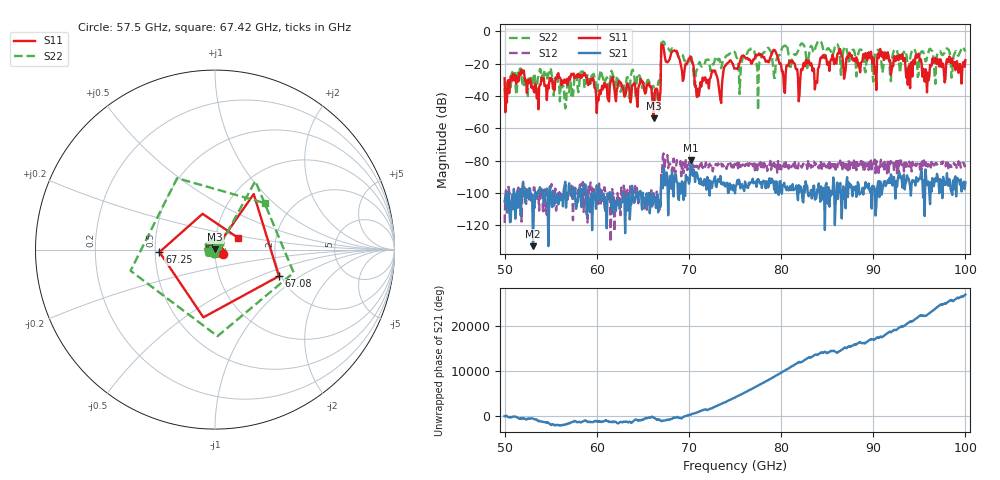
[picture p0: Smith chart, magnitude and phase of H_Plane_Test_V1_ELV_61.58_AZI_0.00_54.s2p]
! 11/27/2026 8:37:54 AM
! C:\ANRITSUVNA\TEMP\TEMP.S2P
! CHANNEL.1
! TR.MEASUREMENT
! RAW.DATA
# HZ S RI R 50.0
! FREQ.HZ  S11RE  S11IM  S21RE  S21IM  S12RE  S12IM  S22RE  S22IM
!; PortSelection: Port_12
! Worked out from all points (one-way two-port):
!   601 points, 50 GHz to 100 GHz, reference 50 ohm
!   highest |S21| = -79.54 dB at 70.25 GHz (marker M1); lowest = -133.0 dB at 53.08 GHz (marker M2)
!   lowest |S11| = -53.9 dB at 66.17 GHz (marker M3), VSWR 1.00, Z = 50.1 + j0.148 ohm
!   |S11| at or under -10 dB: start of sweep to 67 GHz; 67.24 GHz to end of sweep
!   |S22| runs from -48.9 to -5.6 dB; largest |S21 - S12| = 0.00018
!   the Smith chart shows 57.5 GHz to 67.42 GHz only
!   S11 on the Smith chart (normalised r, x): 57.5 GHz: 1.09, -0.05; 67.08 GHz: 1.95, -0.68; 67.25 GHz: 0.53, -0.02; 67.42 GHz: 1.29, +0.17
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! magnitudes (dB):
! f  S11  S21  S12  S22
! 50 GHz  -29.0  -105.3  -118.7  -35.3
! 53.08 GHz  -34.7  -133.0  -118.0  -33.2
! 57.5 GHz  -26.1  -100.1  -98.1  -34.5
! 58.42 GHz  -27.1  -98.8  -107.9  -24.8
! 60.17 GHz  -42.9  -96.6  -106.8  -30.1
! 66.17 GHz  -53.9  -104.4  -100.2  -34.0
! 66.67 GHz  -41.8  -112.0  -106.2  -31.6
! 67.08 GHz  -8.3  -96.1  -87.9  -6.8
! 67.25 GHz  -10.2  -84.5  -75.6  -6.3
! 67.42 GHz  -16.7  -95.4  -79.2  -8.4
! 70.25 GHz  -16.0  -79.5  -83.2  -18.7
! 70.92 GHz  -40.7  -88.6  -83.9  -23.1
! 75 GHz  -23.1  -100.2  -81.9  -13.0
! 77.58 GHz  -13.8  -91.9  -82.5  -21.7
! 78.5 GHz  -18.2  -93.6  -86.4  -10.8
! 79.33 GHz  -11.7  -93.0  -84.0  -28.8
! 80.25 GHz  -27.9  -95.5  -83.6  -9.4
! 83.42 GHz  -24.6  -100.2  -83.9  -10.8
! 91.67 GHz  -16.7  -93.8  -88.1  -15.2
! 94.83 GHz  -14.9  -93.0  -82.4  -28.3
! 95.83 GHz  -37.8  -95.2  -82.1  -16.4
! 100 GHz  -17.8  -93.5  -82.9  -12.5
